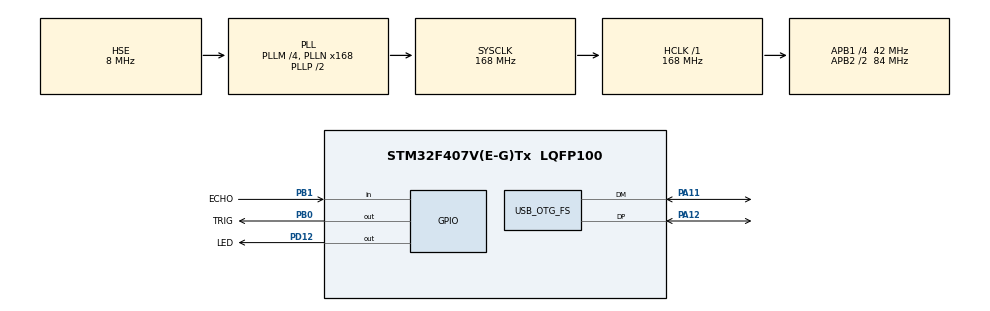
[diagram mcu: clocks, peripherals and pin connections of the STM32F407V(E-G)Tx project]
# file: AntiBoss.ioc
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Mcu.Family=STM32F4
Mcu.Name=STM32F407V(E-G)Tx
Mcu.Package=LQFP100
NVIC.OTG_FS_IRQn=true\:0\:0\:false\:false\:true\:false\:true\:true
NVIC.PriorityGroup=NVIC_PRIORITYGROUP_4
PA11.Mode=Device_Only
PA11.Signal=USB_OTG_FS_DM
PA12.Mode=Device_Only
PA12.Signal=USB_OTG_FS_DP
PA13.Mode=Serial_Wire
PA13.Signal=SYS_JTMS-SWDIO
PA14.Mode=Serial_Wire
PA14.Signal=SYS_JTCK-SWCLK
PB0.GPIO_Label=TRIG
PB0.Signal=GPIO_Output
PB1.GPIO_Label=ECHO
PB1.GPIO_PuPd=GPIO_PULLDOWN
PB1.Signal=GPIO_Input
PD12.GPIO_Label=LED
PD12.Signal=GPIO_Output
PH0-OSC_IN.Mode=HSE-External-Oscillator
PH0-OSC_IN.Signal=RCC_OSC_IN
PH1-OSC_OUT.Mode=HSE-External-Oscillator
PH1-OSC_OUT.Signal=RCC_OSC_OUT
ProjectManager.HeapSize=0x200
ProjectManager.StackSize=0x400
ProjectManager.TargetToolchain=MDK-ARM V5.32
RCC.48MHZClocksFreq_Value=48000000
RCC.AHBFreq_Value=168000000
RCC.APB1CLKDivider=RCC_HCLK_DIV4
RCC.APB1Freq_Value=42000000
RCC.APB1TimFreq_Value=84000000
RCC.APB2CLKDivider=RCC_HCLK_DIV2
RCC.APB2Freq_Value=84000000
RCC.APB2TimFreq_Value=168000000
RCC.CortexFreq_Value=168000000
RCC.HCLKFreq_Value=168000000
RCC.HSE_VALUE=8000000
RCC.HSI_VALUE=16000000
RCC.LSE_VALUE=32768
RCC.PLLM=4
RCC.PLLN=168
RCC.PLLQ=7
RCC.SYSCLKFreq_VALUE=168000000
RCC.SYSCLKSource=RCC_SYSCLKSOURCE_PLLCLK
RCC.VCOOutputFreq_Value=336000000
TIM2.Prescaler=83
USB_DEVICE.CLASS_NAME_FS=HID
USB_DEVICE.VirtualMode-HID_FS=Hid
USB_DEVICE.VirtualModeFS=Hid_FS
USB_OTG_FS.VirtualMode=Device_Only
VP_TIM2_VS_ClockSourceINT.Mode=Internal
VP_USB_DEVICE_VS_USB_DEVICE_HID_FS.Mode=HID_FS
board=custom

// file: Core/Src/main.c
/* USER CODE BEGIN Header */
/**
  ******************************************************************************
  * @file           : main.c
  * @brief          : Main program body
  ******************************************************************************
  * @attention
  *
  * Copyright (c) 2026 STMicroelectronics.
  * All rights reserved.
  *
  * This software is licensed under terms that can be found in the LICENSE file
  * in the root directory of this software component.
  * If no LICENSE file comes with this software, it is provided AS-IS.
  *
  ******************************************************************************
  */
/* USER CODE END Header */
#include "main.h"
#include "usb_device.h"

/* USER CODE BEGIN Includes */
#include "usbd_hid.h"
/* USER CODE END Includes */

/* USER CODE BEGIN PD */
#define TRIGGER_DISTANCE_CM  80
/* USER CODE END PD */

TIM_HandleTypeDef htim2;

/* USER CODE BEGIN PV */
volatile uint32_t current_dist = 999; // ?????????? ?????????? (????? ???????? ????? ? ?????????!)
uint8_t confirm_count = 0;            // ????????????? 2 ???????? ?????? ?? ?????
uint32_t last_trigger_tick = 0;       // ????? ?????????? ????????????
uint8_t has_triggered = 0;            // ???? ??????? ????????????
uint8_t led_active = 0;               // ????? ?? ?????? ?????????
extern USBD_HandleTypeDef hUsbDeviceFS;
/* USER CODE END PV */

void SystemClock_Config(void);
static void MX_GPIO_Init(void);
static void MX_TIM2_Init(void);

/* USER CODE BEGIN 0 */
uint32_t HC_SR04_GetDistance_cm(void)
{
    // 0. ???? ?????? ??? ?? ???????? ??????? ???? (ECHO == 1) — ?????????? ?????
    if (HAL_GPIO_ReadPin(ECHO_GPIO_Port, ECHO_Pin) == GPIO_PIN_SET)
        return 999;

    // 1. ???????? TRIG ? 0 ??????? ?? 2 ???
    HAL_GPIO_WritePin(TRIG_GPIO_Port, TRIG_Pin, GPIO_PIN_RESET);
    __HAL_TIM_SET_COUNTER(&htim2, 0);
    while (__HAL_TIM_GET_COUNTER(&htim2) < 2);

    // 2. ?????? ????????? ??????? 10 ??? ?? TRIG
    HAL_GPIO_WritePin(TRIG_GPIO_Port, TRIG_Pin, GPIO_PIN_SET);
    __HAL_TIM_SET_COUNTER(&htim2, 0);
    while (__HAL_TIM_GET_COUNTER(&htim2) < 10);
    HAL_GPIO_WritePin(TRIG_GPIO_Port, TRIG_Pin, GPIO_PIN_RESET);

    // 3. ????, ????? ?????? ???????? ECHO ? 1 (??????? 5000 ???)
    __HAL_TIM_SET_COUNTER(&htim2, 0);
    while (HAL_GPIO_ReadPin(ECHO_GPIO_Port, ECHO_Pin) == GPIO_PIN_RESET)
    {
        if (__HAL_TIM_GET_COUNTER(&htim2) > 5000)
            return 999;
    }

    // 4. ???????? ???????????? ??????? ?? ECHO (??????? 25000 ??? ~ 4.3 ?????)
    __HAL_TIM_SET_COUNTER(&htim2, 0);
    while (HAL_GPIO_ReadPin(ECHO_GPIO_Port, ECHO_Pin) == GPIO_PIN_SET)
    {
        if (__HAL_TIM_GET_COUNTER(&htim2) > 25000)
            return 999;
    }

    uint32_t duration_us = __HAL_TIM_GET_COUNTER(&htim2);
    return duration_us / 58;
}

void USB_Keyboard_Press(uint8_t modifier, uint8_t keycode)
{
    static uint8_t report[8] = {0};

    // 1. ?????? ???????
    report[0] = modifier;
    report[1] = 0;
    report[2] = keycode;
    USBD_HID_SendReport(&hUsbDeviceFS, report, 8);
    HAL_Delay(50);

    // 2. ????????? ??? ??????? (????)
    report[0] = 0;
    report[2] = 0;
    USBD_HID_SendReport(&hUsbDeviceFS, report, 8);
    HAL_Delay(50);
}

void Trigger_Boss_Key(void)
{
    // ???? ?? ??? ?? ????????? ?????????? — ???????
    if (hUsbDeviceFS.dev_state != USBD_STATE_CONFIGURED)
        return;

    // 1. Win + D (0x08 = Win, 0x07 = D) -> ??????????? ??? ????
    USB_Keyboard_Press(0x08, 0x07);

    // ????? 250 ??, ????? Windows ?????? ???????? ????
    HAL_Delay(250);

    // 2. Ctrl + Alt + F9 (0x01 | 0x04 = 0x05, 0x42 = F9) -> ????????? ??????
    USB_Keyboard_Press(0x01 | 0x04, 0x42);
}
/* USER CODE END 0 */

int main(void)
{

  /* MCU Configuration--------------------------------------------------------*/

  /* Reset of all peripherals, Initializes the Flash interface and the Systick. */
  HAL_Init();

  /* Configure the system clock */
  SystemClock_Config();

  /* Initialize all configured peripherals */
  MX_GPIO_Init();
  MX_TIM2_Init();
  MX_USB_DEVICE_Init();
  /* USER CODE BEGIN 2 */
 HAL_TIM_Base_Start(&htim2);
  /* USER CODE END 2 */

  /* Infinite loop */
  while (1)
  {

    /* USER CODE BEGIN 3 */
 current_dist = HC_SR04_GetDistance_cm();
    uint32_t now = HAL_GetTick();

    if (current_dist >= 2 && current_dist <= TRIGGER_DISTANCE_CM)
    {
        if (confirm_count < 10)
            confirm_count++;
    }
    else
    {
        confirm_count = 0;
    }

    if (confirm_count == 2)
    {
        if (!has_triggered || (now - last_trigger_tick >= 5000))
        {
            has_triggered = 1;
            last_trigger_tick = now;

            // ???????? ?????????
            HAL_GPIO_WritePin(LED_GPIO_Port, LED_Pin, GPIO_PIN_SET);
            led_active = 1;

            // ????????? ???????????? ???? ? ???????? ???????!
            Trigger_Boss_Key();
        }
    }

    if (led_active && (now - last_trigger_tick >= 1000))
    {
        HAL_GPIO_WritePin(LED_GPIO_Port, LED_Pin, GPIO_PIN_RESET);
        led_active = 0;
    }

    HAL_Delay(100);
  }
  /* USER CODE END 3 */
}

void SystemClock_Config(void)
{
  RCC_OscInitTypeDef RCC_OscInitStruct = {0};
  RCC_ClkInitTypeDef RCC_ClkInitStruct = {0};

  /** Configure the main internal regulator output voltage
  */
  __HAL_RCC_PWR_CLK_ENABLE();
  __HAL_PWR_VOLTAGESCALING_CONFIG(PWR_REGULATOR_VOLTAGE_SCALE1);

  /** Initializes the RCC Oscillators according to the specified parameters
  * in the RCC_OscInitTypeDef structure.
  */
  RCC_OscInitStruct.OscillatorType = RCC_OSCILLATORTYPE_HSE;
  RCC_OscInitStruct.HSEState = RCC_HSE_ON;
  RCC_OscInitStruct.PLL.PLLState = RCC_PLL_ON;
  RCC_OscInitStruct.PLL.PLLSource = RCC_PLLSOURCE_HSE;
  RCC_OscInitStruct.PLL.PLLM = 4;
  RCC_OscInitStruct.PLL.PLLN = 168;
  RCC_OscInitStruct.PLL.PLLP = RCC_PLLP_DIV2;
  RCC_OscInitStruct.PLL.PLLQ = 7;
  if (HAL_RCC_OscConfig(&RCC_OscInitStruct) != HAL_OK)
  {
    Error_Handler();
  }

  /** Initializes the CPU, AHB and APB buses clocks
  */
  RCC_ClkInitStruct.ClockType = RCC_CLOCKTYPE_HCLK|RCC_CLOCKTYPE_SYSCLK
                              |RCC_CLOCKTYPE_PCLK1|RCC_CLOCKTYPE_PCLK2;
  RCC_ClkInitStruct.SYSCLKSource = RCC_SYSCLKSOURCE_PLLCLK;
  RCC_ClkInitStruct.AHBCLKDivider = RCC_SYSCLK_DIV1;
  RCC_ClkInitStruct.APB1CLKDivider = RCC_HCLK_DIV4;
  RCC_ClkInitStruct.APB2CLKDivider = RCC_HCLK_DIV2;

  if (HAL_RCC_ClockConfig(&RCC_ClkInitStruct, FLASH_LATENCY_5) != HAL_OK)
  {
    Error_Handler();
  }
}

static void MX_TIM2_Init(void)
{

  TIM_ClockConfigTypeDef sClockSourceConfig = {0};
  TIM_MasterConfigTypeDef sMasterConfig = {0};

  htim2.Instance = TIM2;
  htim2.Init.Prescaler = 83;
  htim2.Init.CounterMode = TIM_COUNTERMODE_UP;
  htim2.Init.Period = 4294967295;
  htim2.Init.ClockDivision = TIM_CLOCKDIVISION_DIV1;
  htim2.Init.AutoReloadPreload = TIM_AUTORELOAD_PRELOAD_DISABLE;
  if (HAL_TIM_Base_Init(&htim2) != HAL_OK)
  {
    Error_Handler();
  }
  sClockSourceConfig.ClockSource = TIM_CLOCKSOURCE_INTERNAL;
  if (HAL_TIM_ConfigClockSource(&htim2, &sClockSourceConfig) != HAL_OK)
  {
    Error_Handler();
  }
  sMasterConfig.MasterOutputTrigger = TIM_TRGO_RESET;
  sMasterConfig.MasterSlaveMode = TIM_MASTERSLAVEMODE_DISABLE;
  if (HAL_TIMEx_MasterConfigSynchronization(&htim2, &sMasterConfig) != HAL_OK)
  {
    Error_Handler();
  }

}

static void MX_GPIO_Init(void)
{
  GPIO_InitTypeDef GPIO_InitStruct = {0};

  /* GPIO Ports Clock Enable */
  __HAL_RCC_GPIOH_CLK_ENABLE();
  __HAL_RCC_GPIOB_CLK_ENABLE();
  __HAL_RCC_GPIOD_CLK_ENABLE();
  __HAL_RCC_GPIOA_CLK_ENABLE();

  /*Configure GPIO pin Output Level */
  HAL_GPIO_WritePin(TRIG_GPIO_Port, TRIG_Pin, GPIO_PIN_RESET);

  /*Configure GPIO pin Output Level */
  HAL_GPIO_WritePin(LED_GPIO_Port, LED_Pin, GPIO_PIN_RESET);

  /*Configure GPIO pin : TRIG_Pin */
  GPIO_InitStruct.Pin = TRIG_Pin;
  GPIO_InitStruct.Mode = GPIO_MODE_OUTPUT_PP;
  GPIO_InitStruct.Pull = GPIO_NOPULL;
  GPIO_InitStruct.Speed = GPIO_SPEED_FREQ_LOW;
  HAL_GPIO_Init(TRIG_GPIO_Port, &GPIO_InitStruct);

  /*Configure GPIO pin : ECHO_Pin */
  GPIO_InitStruct.Pin = ECHO_Pin;
  GPIO_InitStruct.Mode = GPIO_MODE_INPUT;
  GPIO_InitStruct.Pull = GPIO_PULLDOWN;
  HAL_GPIO_Init(ECHO_GPIO_Port, &GPIO_InitStruct);

  /*Configure GPIO pin : LED_Pin */
  GPIO_InitStruct.Pin = LED_Pin;
  GPIO_InitStruct.Mode = GPIO_MODE_OUTPUT_PP;
  GPIO_InitStruct.Pull = GPIO_NOPULL;
  GPIO_InitStruct.Speed = GPIO_SPEED_FREQ_LOW;
  HAL_GPIO_Init(LED_GPIO_Port, &GPIO_InitStruct);

}

void Error_Handler(void)
{
  __disable_irq();
  while (1)
  {
  }
}
